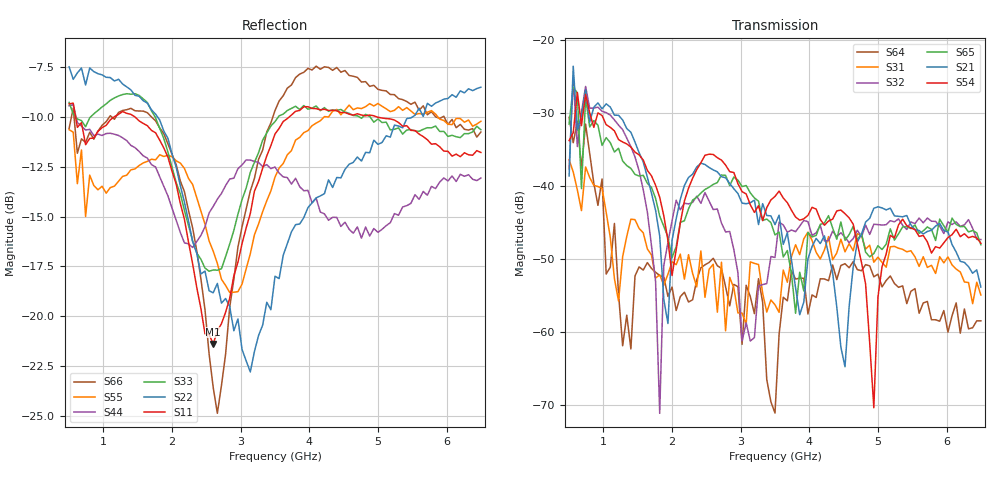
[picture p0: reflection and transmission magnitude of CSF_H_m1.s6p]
!Keysight Technologies,M9804A,MY58100912,A.14.10.03
!Date: Thursday, April 27, 2023 10:28:33
!Correction: S11(C  6-Port  )
!S12(C  6-Port  )
!S13(C  6-Port  )
!S14(C  6-Port  )
!S15(C  6-Port  )
!S16(C  6-Port  )
!S21(C  6-Port  )
!S22(C  6-Port  )
!S23(C  6-Port  )
!S24(C  6-Port  )
!S25(C  6-Port  )
!S26(C  6-Port  )
!S31(C  6-Port  )
!S32(C  6-Port  )
!S33(C  6-Port  )
!S34(C  6-Port  )
!S35(C  6-Port  )
!S36(C  6-Port  )
!S41(C  6-Port  )
!S42(C  6-Port  )
!S43(C  6-Port  )
!S44(C  6-Port  )
!S45(C  6-Port  )
!S46(C  6-Port  )
!S51(C  6-Port  )
!S52(C  6-Port  )
!S53(C  6-Port  )
!S54(C  6-Port  )
!S55(C  6-Port  )
!S56(C  6-Port  )
!S61(C  6-Port  )
!S62(C  6-Port  )
!S63(C  6-Port  )
!S64(C  6-Port  )
!S65(C  6-Port  )
!S66(C  6-Port  )
!S6P File: Measurement: :
# Hz S  RI  R 50
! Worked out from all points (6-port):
!   101 points, 500 MHz to 6.5 GHz, reference 50 ohm
!   strongest paths, dB at 500 MHz, 2 GHz, 3.5 GHz, 5 GHz, 6.5 GHz:
!     S54: -33.7, -52.2, -41.4, -55.2, -47.8
!     S21: -38.6, -47.4, -45.2, -42.8, -53.8
!     S65: -31.5, -49.8, -46.7, -48.2, -48.0
!     S32: -37.6, -44.7, -49.8, -45.3, -47.3
!     S31: -36.4, -50.3, -56.2, -49.7, -54.9
!     S64: -30.6, -53.8, -71.1, -52.0, -58.4
!   lowest |S11| = -21.4 dB at 2.6 GHz (marker M1), VSWR 1.19, Z = 42.4 + j2.25 ohm
!   |S11| at or under -10 dB: 594.3 MHz to 1.155 GHz (560.8 MHz wide, 64.1 % of centre); 1.46 GHz to 3.707 GHz (2.247 GHz wide, 87 % of centre); 4.986 GHz to end of sweep
